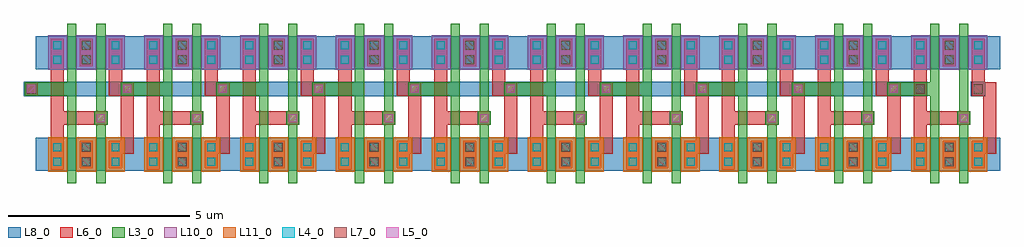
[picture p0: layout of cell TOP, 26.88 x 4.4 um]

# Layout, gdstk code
import gdstk
lib = gdstk.Library(unit=1e-6, precision=1e-09)
def R(c, l, rs):  # rectangles x0, y0, x1, y1
    for r in rs: c.add(gdstk.rectangle(r[:2], r[2:], *l))
def P(c, l, *ps):  # polygons
    for p in ps: c.add(gdstk.Polygon(p, *l))
L3_0 = (3, 0)
L4_0 = (4, 0)
L5_0 = (5, 0)
L6_0 = (6, 0)
L7_0 = (7, 0)
L8_0 = (8, 0)
L10_0 = (10, 0)
L11_0 = (11, 0)

d_pmos = lib.new_cell('D$PMOS')

d_pmos_1 = lib.new_cell('D$PMOS$1')

d_nmos = lib.new_cell('D$NMOS')

d_nmos_1 = lib.new_cell('D$NMOS$1')

device_d_pmos = lib.new_cell('DEVICE_D$PMOS')
R(device_d_pmos, L3_0, [(-0.125,-0.475,0.125,0.475)])

device_d_nmos = lib.new_cell('DEVICE_D$NMOS')
R(device_d_nmos, L3_0, [(-0.125,-0.475,0.125,0.475)])

net_in = lib.new_cell('NET_IN')
R(net_in, L3_0, [(-0.525,-0.8,-0.275,0.8), (-0.525,-0.25,-0.275,2.25), (-1.7,1.62,-0.4,1.98), (-0.525,2,-0.275,3.6)])
R(net_in, L5_0, [(-1.63,1.69,-1.41,1.91)])
net_in.add(gdstk.Reference(device_d_pmos, (-0.4,2.8)))
net_in.add(gdstk.Reference(device_d_nmos, (-0.4,0)))

device_d_pmos_1 = lib.new_cell('DEVICE_D$PMOS$1')
R(device_d_pmos_1, L10_0, [(-0.65,-0.475,-0.125,0.475)])

device_d_pmos_1_1 = lib.new_cell('DEVICE_D$PMOS$1$1')
R(device_d_pmos_1_1, L3_0, [(-0.125,-0.475,0.125,0.475)])

device_d_nmos_1 = lib.new_cell('DEVICE_D$NMOS$1')
R(device_d_nmos_1, L11_0, [(-0.65,-0.475,-0.125,0.475)])

device_d_nmos_1_1 = lib.new_cell('DEVICE_D$NMOS$1$1')
R(device_d_nmos_1_1, L3_0, [(-0.125,-0.475,0.125,0.475)])

net__2 = lib.new_cell('NET_$2')
R(net__2, L3_0, [(0.275,-0.8,0.525,0.8), (0.275,-0.25,0.525,2.25), (0.22,0.82,0.58,1.18), (0.275,2,0.525,3.6)])
R(net__2, L4_0, [(-0.91,-0.31,-0.69,-0.09), (-0.91,0.09,-0.69,0.31), (-0.91,2.49,-0.69,2.71), (-0.91,2.89,-0.69,3.11)])
R(net__2, L5_0, [(0.29,0.89,0.51,1.11)])
R(net__2, L6_0, [(-0.98,-0.42,-0.62,2.42), (-0.98,-0.38,-0.62,0.38), (-0.8,0.82,0.58,1.18), (-0.98,2.42,-0.62,3.18)])
R(net__2, L10_0, [(-1.05,2.325,-0.525,3.275)])
R(net__2, L11_0, [(-1.05,-0.475,-0.525,0.475)])
net__2.add(gdstk.Reference(device_d_pmos_1, (-0.4,2.8)))
net__2.add(gdstk.Reference(device_d_pmos_1_1, (0.4,2.8)))
net__2.add(gdstk.Reference(device_d_nmos_1, (-0.4,0)))
net__2.add(gdstk.Reference(device_d_nmos_1_1, (0.4,0)))

device_d_pmos_1_2 = lib.new_cell('DEVICE_D$PMOS$1$2')
R(device_d_pmos_1_2, L10_0, [(0.125,-0.475,0.65,0.475)])

device_d_nmos_1_2 = lib.new_cell('DEVICE_D$NMOS$1$2')
R(device_d_nmos_1_2, L11_0, [(0.125,-0.475,0.65,0.475)])

net_out = lib.new_cell('NET_OUT')
R(net_out, L4_0, [(0.69,-0.31,0.91,-0.09), (0.69,0.09,0.91,0.31), (0.69,2.49,0.91,2.71), (0.69,2.89,0.91,3.11)])
R(net_out, L6_0, [(0.62,-0.38,0.98,0.38), (0.62,2.42,0.98,3.18)])
P(net_out, L6_0, [(0.8,0.02),(0.8,0.38),(0.94,0.38),(0.94,1.62),(0.62,1.62),(0.62,2.42),(0.98,2.42),(0.98,1.98),(1.3,1.98),(1.3,0.02)])
R(net_out, L10_0, [(0.525,2.325,1.05,3.275)])
R(net_out, L11_0, [(0.525,-0.475,1.05,0.475)])
net_out.add(gdstk.Reference(device_d_pmos_1_2, (0.4,2.8)))
net_out.add(gdstk.Reference(device_d_nmos_1_2, (0.4,0)))

device_d_nmos_2 = lib.new_cell('DEVICE_D$NMOS$2')
R(device_d_nmos_2, L11_0, [(0.125,-0.475,0.675,0.475)])

device_d_nmos_1_3 = lib.new_cell('DEVICE_D$NMOS$1$3')
R(device_d_nmos_1_3, L11_0, [(-0.675,-0.475,-0.125,0.475)])

net__4 = lib.new_cell('NET_$4')
R(net__4, L4_0, [(-0.11,-0.31,0.11,-0.09), (-0.11,-0.31,0.11,-0.09), (-0.11,0.09,0.11,0.31), (-0.11,0.09,0.11,0.31)])
R(net__4, L6_0, [(-0.18,-0.38,0.18,0.38), (-0.18,-0.38,0.18,0.38)])
R(net__4, L7_0, [(-0.125,-0.325,0.125,-0.075), (-0.125,0.075,0.125,0.325)])
R(net__4, L8_0, [(-1.4,-0.45,1.4,0.45)])
R(net__4, L11_0, [(-0.275,-0.475,0.275,0.475)])
net__4.add(gdstk.Reference(device_d_nmos_2, (-0.4,0)))
net__4.add(gdstk.Reference(device_d_nmos_1_3, (0.4,0)))

device_d_pmos_2 = lib.new_cell('DEVICE_D$PMOS$2')
R(device_d_pmos_2, L10_0, [(0.125,-0.475,0.675,0.475)])

device_d_pmos_1_3 = lib.new_cell('DEVICE_D$PMOS$1$3')
R(device_d_pmos_1_3, L10_0, [(-0.675,-0.475,-0.125,0.475)])

net__5 = lib.new_cell('NET_$5')
R(net__5, L4_0, [(-0.11,2.49,0.11,2.71), (-0.11,2.49,0.11,2.71), (-0.11,2.89,0.11,3.11), (-0.11,2.89,0.11,3.11)])
R(net__5, L6_0, [(-0.18,2.42,0.18,3.18), (-0.18,2.42,0.18,3.18)])
R(net__5, L7_0, [(-0.125,2.475,0.125,2.725), (-0.125,2.875,0.125,3.125)])
R(net__5, L8_0, [(-1.4,2.35,1.4,3.25)])
R(net__5, L10_0, [(-0.275,2.325,0.275,3.275)])
net__5.add(gdstk.Reference(device_d_pmos_2, (-0.4,2.8)))
net__5.add(gdstk.Reference(device_d_pmos_1_3, (0.4,2.8)))

inv2 = lib.new_cell('INV2')
inv2.add(gdstk.Reference(d_pmos, (-0.4,2.8)))
inv2.add(gdstk.Reference(d_pmos_1, (0.4,2.8)))
inv2.add(gdstk.Reference(d_nmos, (-0.4,0)))
inv2.add(gdstk.Reference(d_nmos_1, (0.4,0)))
inv2.add(gdstk.Reference(net_in, (0,0)))
inv2.add(gdstk.Reference(net__2, (0,0)))
inv2.add(gdstk.Reference(net_out, (0,0)))
inv2.add(gdstk.Reference(net__4, (0,0)))
inv2.add(gdstk.Reference(net__5, (0,0)))

net_fb = lib.new_cell('NET_FB')
R(net_fb, L4_0, [(22.85,-0.31,23.07,-0.09), (22.85,0.09,23.07,0.31), (22.85,2.49,23.07,2.71), (22.85,2.89,23.07,3.11)])
R(net_fb, L6_0, [(-1.7,1.62,-1.34,1.98)])
R(net_fb, L7_0, [(-1.645,1.675,-1.395,1.925), (22.835,1.675,23.085,1.925)])
R(net_fb, L8_0, [(-1.72,1.6,23.16,2)])

net_osc = lib.new_cell('NET_OSC')
R(net_osc, L4_0, [(24.45,-0.31,24.67,-0.09), (24.45,0.09,24.67,0.31), (24.45,2.49,24.67,2.71), (24.45,2.89,24.67,3.11)])
R(net_osc, L7_0, [(24.435,1.675,24.685,1.925)])
R(net_osc, L8_0, [(24.36,1.6,24.76,2)])

net_vss = lib.new_cell('NET_VSS')
R(net_vss, L4_0, [(-0.11,-0.31,0.11,-0.09), (-0.11,-0.31,0.11,-0.09), (2.53,-0.31,2.75,-0.09), (2.53,-0.31,2.75,-0.09), (5.17,-0.31,5.39,-0.09), (5.17,-0.31,5.39,-0.09), (7.81,-0.31,8.03,-0.09), (7.81,-0.31,8.03,-0.09), (10.45,-0.31,10.67,-0.09), (10.45,-0.31,10.67,-0.09), (13.09,-0.31,13.31,-0.09), (13.09,-0.31,13.31,-0.09), (15.73,-0.31,15.95,-0.09), (15.73,-0.31,15.95,-0.09), (18.37,-0.31,18.59,-0.09), (18.37,-0.31,18.59,-0.09), (21.01,-0.31,21.23,-0.09), (21.01,-0.31,21.23,-0.09), (23.65,-0.31,23.87,-0.09), (23.65,-0.31,23.87,-0.09), (-0.11,0.09,0.11,0.31), (-0.11,0.09,0.11,0.31), (2.53,0.09,2.75,0.31), (2.53,0.09,2.75,0.31), (5.17,0.09,5.39,0.31), (5.17,0.09,5.39,0.31), (7.81,0.09,8.03,0.31), (7.81,0.09,8.03,0.31), (10.45,0.09,10.67,0.31), (10.45,0.09,10.67,0.31), (13.09,0.09,13.31,0.31), (13.09,0.09,13.31,0.31), (15.73,0.09,15.95,0.31), (15.73,0.09,15.95,0.31), (18.37,0.09,18.59,0.31), (18.37,0.09,18.59,0.31), (21.01,0.09,21.23,0.31), (21.01,0.09,21.23,0.31), (23.65,0.09,23.87,0.31), (23.65,0.09,23.87,0.31)])
R(net_vss, L6_0, [(-0.18,-0.38,0.18,0.38), (-0.18,-0.38,0.18,0.38), (2.46,-0.38,2.82,0.38), (2.46,-0.38,2.82,0.38), (5.1,-0.38,5.46,0.38), (5.1,-0.38,5.46,0.38), (7.74,-0.38,8.1,0.38), (7.74,-0.38,8.1,0.38), (10.38,-0.38,10.74,0.38), (10.38,-0.38,10.74,0.38), (13.02,-0.38,13.38,0.38), (13.02,-0.38,13.38,0.38), (15.66,-0.38,16.02,0.38), (15.66,-0.38,16.02,0.38), (18.3,-0.38,18.66,0.38), (18.3,-0.38,18.66,0.38), (20.94,-0.38,21.3,0.38), (20.94,-0.38,21.3,0.38), (23.58,-0.38,23.94,0.38), (23.58,-0.38,23.94,0.38)])

net_vdd = lib.new_cell('NET_VDD')
R(net_vdd, L4_0, [(-0.11,2.49,0.11,2.71), (-0.11,2.49,0.11,2.71), (2.53,2.49,2.75,2.71), (2.53,2.49,2.75,2.71), (5.17,2.49,5.39,2.71), (5.17,2.49,5.39,2.71), (7.81,2.49,8.03,2.71), (7.81,2.49,8.03,2.71), (10.45,2.49,10.67,2.71), (10.45,2.49,10.67,2.71), (13.09,2.49,13.31,2.71), (13.09,2.49,13.31,2.71), (15.73,2.49,15.95,2.71), (15.73,2.49,15.95,2.71), (18.37,2.49,18.59,2.71), (18.37,2.49,18.59,2.71), (21.01,2.49,21.23,2.71), (21.01,2.49,21.23,2.71), (23.65,2.49,23.87,2.71), (23.65,2.49,23.87,2.71), (-0.11,2.89,0.11,3.11), (-0.11,2.89,0.11,3.11), (2.53,2.89,2.75,3.11), (2.53,2.89,2.75,3.11), (5.17,2.89,5.39,3.11), (5.17,2.89,5.39,3.11), (7.81,2.89,8.03,3.11), (7.81,2.89,8.03,3.11), (10.45,2.89,10.67,3.11), (10.45,2.89,10.67,3.11), (13.09,2.89,13.31,3.11), (13.09,2.89,13.31,3.11), (15.73,2.89,15.95,3.11), (15.73,2.89,15.95,3.11), (18.37,2.89,18.59,3.11), (18.37,2.89,18.59,3.11), (21.01,2.89,21.23,3.11), (21.01,2.89,21.23,3.11), (23.65,2.89,23.87,3.11), (23.65,2.89,23.87,3.11)])
R(net_vdd, L6_0, [(-0.18,2.42,0.18,3.18), (-0.18,2.42,0.18,3.18), (2.46,2.42,2.82,3.18), (2.46,2.42,2.82,3.18), (5.1,2.42,5.46,3.18), (5.1,2.42,5.46,3.18), (7.74,2.42,8.1,3.18), (7.74,2.42,8.1,3.18), (10.38,2.42,10.74,3.18), (10.38,2.42,10.74,3.18), (13.02,2.42,13.38,3.18), (13.02,2.42,13.38,3.18), (15.66,2.42,16.02,3.18), (15.66,2.42,16.02,3.18), (18.3,2.42,18.66,3.18), (18.3,2.42,18.66,3.18), (20.94,2.42,21.3,3.18), (20.94,2.42,21.3,3.18), (23.58,2.42,23.94,3.18), (23.58,2.42,23.94,3.18)])

net__5_1 = lib.new_cell('NET_$5$1')
R(net__5_1, L4_0, [(0.69,-0.31,0.91,-0.09), (0.69,0.09,0.91,0.31), (0.69,2.49,0.91,2.71), (0.69,2.89,0.91,3.11)])

net__6 = lib.new_cell('NET_$6')
R(net__6, L4_0, [(21.81,-0.31,22.03,-0.09), (21.81,0.09,22.03,0.31), (21.81,2.49,22.03,2.71), (21.81,2.89,22.03,3.11)])

net__7 = lib.new_cell('NET_$7')
R(net__7, L4_0, [(19.17,-0.31,19.39,-0.09), (19.17,0.09,19.39,0.31), (19.17,2.49,19.39,2.71), (19.17,2.89,19.39,3.11)])

net__8 = lib.new_cell('NET_$8')
R(net__8, L4_0, [(16.53,-0.31,16.75,-0.09), (16.53,0.09,16.75,0.31), (16.53,2.49,16.75,2.71), (16.53,2.89,16.75,3.11)])

net__9 = lib.new_cell('NET_$9')
R(net__9, L4_0, [(13.89,-0.31,14.11,-0.09), (13.89,0.09,14.11,0.31), (13.89,2.49,14.11,2.71), (13.89,2.89,14.11,3.11)])

net__10 = lib.new_cell('NET_$10')
R(net__10, L4_0, [(11.25,-0.31,11.47,-0.09), (11.25,0.09,11.47,0.31), (11.25,2.49,11.47,2.71), (11.25,2.89,11.47,3.11)])

net__11 = lib.new_cell('NET_$11')
R(net__11, L4_0, [(8.61,-0.31,8.83,-0.09), (8.61,0.09,8.83,0.31), (8.61,2.49,8.83,2.71), (8.61,2.89,8.83,3.11)])

net__12 = lib.new_cell('NET_$12')
R(net__12, L4_0, [(5.97,-0.31,6.19,-0.09), (5.97,0.09,6.19,0.31), (5.97,2.49,6.19,2.71), (5.97,2.89,6.19,3.11)])

net__13 = lib.new_cell('NET_$13')
R(net__13, L4_0, [(3.33,-0.31,3.55,-0.09), (3.33,0.09,3.55,0.31), (3.33,2.49,3.55,2.71), (3.33,2.89,3.55,3.11)])

top = lib.new_cell('TOP')
top.add(gdstk.Reference(inv2, (23.76,0)))
top.add(gdstk.Reference(inv2, (0,0)))
top.add(gdstk.Reference(inv2, (2.64,0)))
top.add(gdstk.Reference(inv2, (5.28,0)))
top.add(gdstk.Reference(inv2, (7.92,0)))
top.add(gdstk.Reference(inv2, (10.56,0)))
top.add(gdstk.Reference(inv2, (13.2,0)))
top.add(gdstk.Reference(inv2, (15.84,0)))
top.add(gdstk.Reference(inv2, (18.48,0)))
top.add(gdstk.Reference(inv2, (21.12,0)))
top.add(gdstk.Reference(net_fb, (0,0)))
top.add(gdstk.Reference(net_osc, (0,0)))
top.add(gdstk.Reference(net_vss, (0,0)))
top.add(gdstk.Reference(net_vdd, (0,0)))
top.add(gdstk.Reference(net__5_1, (0,0)))
top.add(gdstk.Reference(net__6, (0,0)))
top.add(gdstk.Reference(net__7, (0,0)))
top.add(gdstk.Reference(net__8, (0,0)))
top.add(gdstk.Reference(net__9, (0,0)))
top.add(gdstk.Reference(net__10, (0,0)))
top.add(gdstk.Reference(net__11, (0,0)))
top.add(gdstk.Reference(net__12, (0,0)))
top.add(gdstk.Reference(net__13, (0,0)))

lib.write_gds('TOP.gds')
